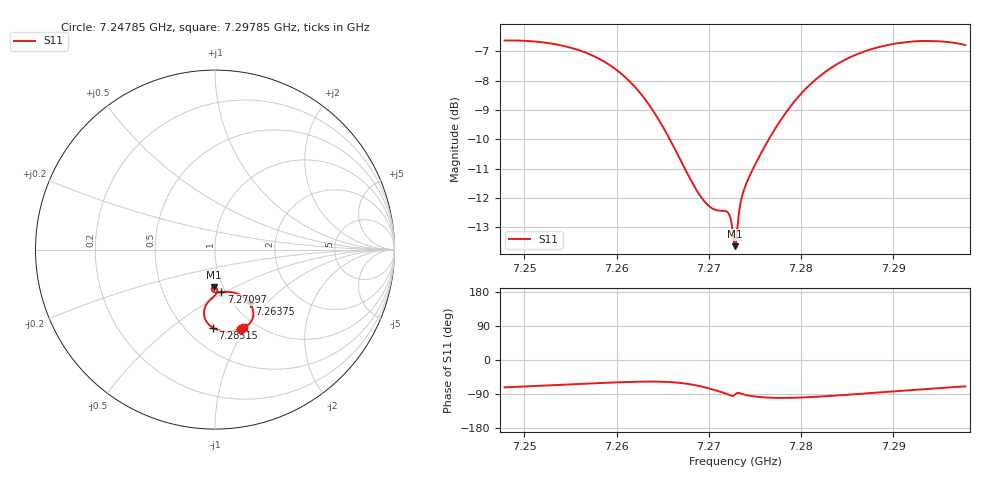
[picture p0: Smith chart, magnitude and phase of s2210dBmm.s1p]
#  HZ  S  MA  R  50.00
! Rohde & Schwarz Vector Network Analyzer
! Rohde-Schwarz,ZNB20-2Port,1311601062101564,3.50
! Created: UTC 4/2/2026, 6:06:57 AM
! freq[Hz]  mag:S22  ang:S22
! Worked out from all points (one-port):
!   2001 points, 7.24785 GHz to 7.29785 GHz, reference 50 ohm
!   lowest |S11| = -13.6 dB at 7.27285 GHz (marker M1), VSWR 1.52, Z = 45.5 - j19.8 ohm
!   |S11| at or under -10 dB: 7.265772 GHz to 7.27652 GHz (10.75 MHz wide, 0.148 % of centre)
!   S11 on the Smith chart (normalised r, x): 7.24785 GHz: 0.84, -0.95; 7.26375 GHz: 1.18, -0.81; 7.27097 GHz: 0.95, -0.48; 7.28515 GHz: 0.67, -0.72; 7.29785 GHz: 0.89, -0.96
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7.24785e9  0.466 -72.2
7.2541e9  0.4567 -65.3
7.257525e9  0.4383 -61.6
7.26035e9  0.411 -58.7
7.2621e9  0.3866 -57.4
7.26375e9  0.3577 -56.9
7.2666e9  0.2984 -59.8
7.269175e9  0.2519 -69.8
7.2701e9  0.2427 -75.5
7.270975e9  0.2391 -81.6
7.272125e9  0.2367 -91.2
7.272525e9  0.2247 -94.7
7.2727e9  0.2134 -94.3
7.27285e9  0.2078 -91.2
7.273025e9  0.2162 -87.5
7.273275e9  0.2363 -87.2
7.273625e9  0.2532 -89.7
7.2742e9  0.2687 -93.2
7.27525e9  0.2907 -97.1
7.27645e9  0.3148 -99.3
7.2791e9  0.3636 -99.7
7.281925e9  0.4038 -96.8
7.28515e9  0.4349 -91.7
7.28535e9  0.4364 -91.3
7.288375e9  0.4537 -85.8
7.2916e9  0.4634 -79.9
7.29445e9  0.465 -75.0
7.29785e9  0.4578 -69.7
